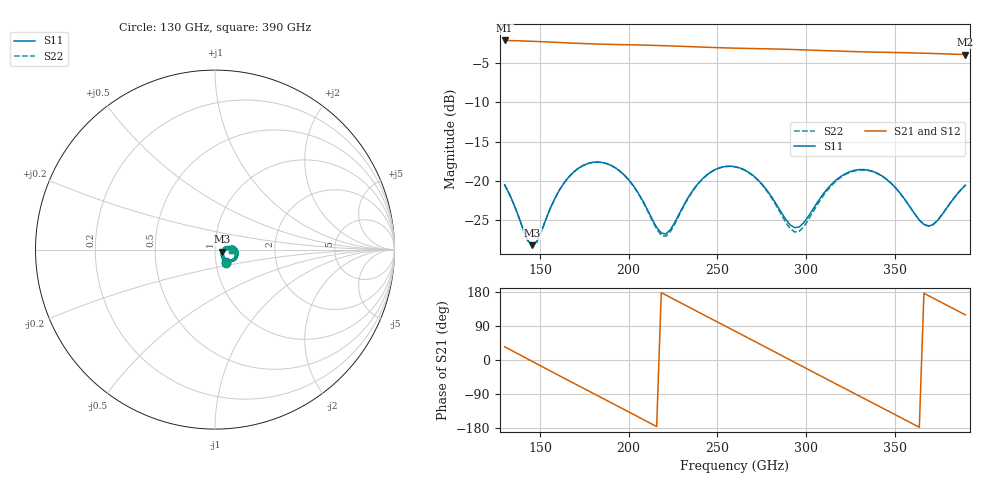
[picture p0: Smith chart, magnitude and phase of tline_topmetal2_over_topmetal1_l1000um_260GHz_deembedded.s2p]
! Created with skrf 2.2.0 (http://scikit-rf.org).
# GHz S DB R 50.0
! Port[1] = P1
! Port[2] = P2
!freq dBS11 angS11 dBS21 angS21 dBS12 angS12 dBS22 angS22
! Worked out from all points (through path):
!   101 points, 130 GHz to 390 GHz, reference 50 ohm
!   highest |S21| = -2.15 dB at 130 GHz (marker M1); lowest = -3.9 dB at 390 GHz (marker M2)
!   group delay of S21, straight-line fit = 6.79 ps
!   lowest |S11| = -28.2 dB at 145.6 GHz (marker M3), VSWR 1.08, Z = 53.8 - j1.3 ohm
!   |S11| at or under -10 dB: start of sweep to end of sweep
!   |S22| runs from -28.3 to -17.6 dB; largest |S21 - S12| = 1.2e-13
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130  -20.49 -49.5  -2.15 34.9  -2.15 34.9  -20.49 -50.3
145.6  -28.18 -18.0  -2.25 -3.7  -2.25 -3.7  -28.28 -18.8
158.6  -22.10 16.7  -2.38 -35.8  -2.38 -35.8  -22.13 16.3
174.2  -18.04 -1.9  -2.54 -74.0  -2.54 -74.0  -18.04 -2.6
184.6  -17.64 -18.7  -2.61 -99.3  -2.61 -99.3  -17.63 -19.6
195  -18.73 -34.4  -2.67 -124.7  -2.67 -124.7  -18.74 -35.6
208  -22.53 -44.8  -2.74 -156.5  -2.74 -156.5  -22.61 -46.5
218.4  -26.62 -24.0  -2.80 177.9  -2.80 177.9  -26.89 -25.3
228.8  -24.06 8.9  -2.88 152.3  -2.88 152.3  -24.21 9.0
241.8  -19.68 4.7  -2.99 120.5  -2.99 120.5  -19.72 4.3
260  -18.18 -21.1  -3.12 76.2  -3.12 76.2  -18.20 -22.1
270.4  -19.34 -35.2  -3.17 50.8  -3.17 50.8  -19.38 -36.7
283.4  -22.99 -42.1  -3.24 19.0  -3.24 19.0  -23.19 -44.4
293.8  -25.94 -20.6  -3.30 -6.5  -3.30 -6.5  -26.49 -21.7
304.2  -23.51 3.8  -3.38 -32.0  -3.38 -32.0  -23.85 5.1
317.2  -19.85 -0.4  -3.49 -63.6  -3.49 -63.6  -19.97 0.5
327.6  -18.63 -13.3  -3.56 -88.9  -3.56 -88.9  -18.70 -12.7
338  -18.80 -27.6  -3.62 -114.1  -3.62 -114.1  -18.84 -27.2
348.4  -20.34 -39.3  -3.67 -139.4  -3.67 -139.4  -20.37 -39.1
358.8  -23.32 -41.5  -3.72 -164.8  -3.72 -164.8  -23.33 -41.3
369.2  -25.73 -20.3  -3.78 169.7  -3.78 169.7  -25.72 -20.2
390  -20.54 -1.1  -3.94 119.0  -3.94 119.0  -20.52 -1.4
